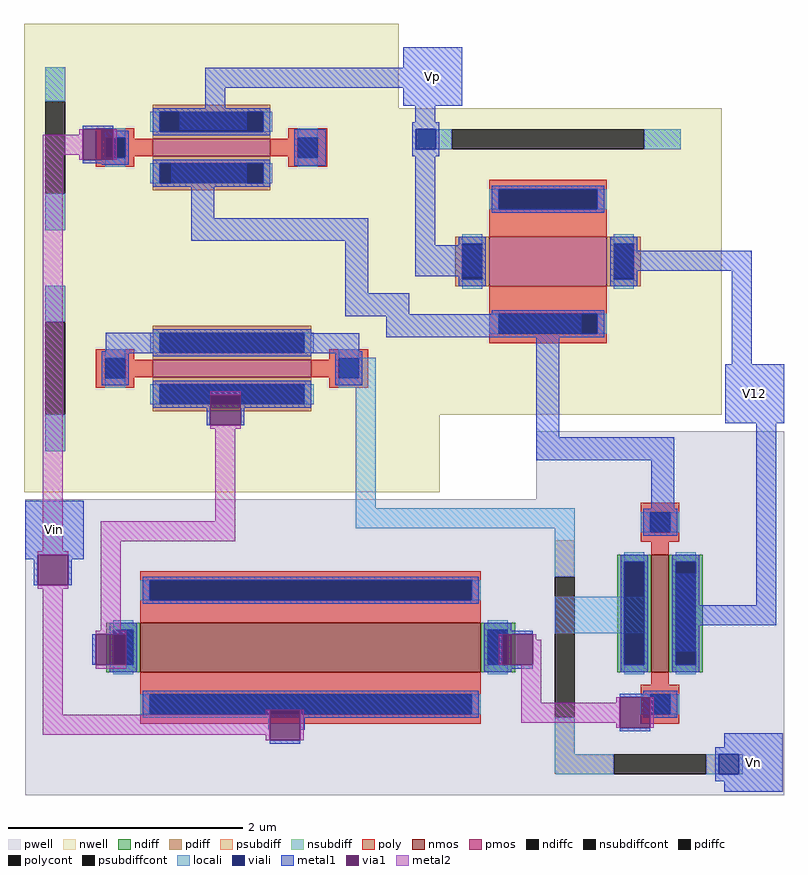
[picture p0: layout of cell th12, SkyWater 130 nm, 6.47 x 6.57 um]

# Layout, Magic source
magic
tech sky130A
magscale 1 2
<< psubdiff >>
rect 1182 -1008 1216 -946
rect 1182 -1041 1254 -1008
rect 1183 -1042 1254 -1041
<< nsubdiff >>
rect 947 22 1005 56
<< locali >>
rect 979 22 1006 56
rect 815 -367 877 -333
rect 843 -589 877 -367
rect 843 -623 1216 -589
rect 1182 -681 1216 -623
rect 1182 -802 1334 -740
rect 1182 -1008 1216 -957
rect 1182 -1039 1254 -1008
rect 1183 -1042 1254 -1039
rect 1440 -1042 1461 -1008
<< viali >>
rect 945 22 979 56
rect 1461 -1042 1495 -1008
<< metal1 >>
rect 924 161 1024 196
rect 587 127 1024 161
rect 587 89 621 127
rect 924 96 1024 127
rect 378 56 430 62
rect 543 55 657 89
rect 944 68 978 96
rect 939 56 985 68
rect 378 -2 430 4
rect 529 -42 657 -3
rect 738 -6 792 56
rect 939 22 945 56
rect 979 22 985 56
rect 939 10 985 22
rect 563 -95 602 -42
rect 563 -134 864 -95
rect 825 -223 864 -134
rect 944 -141 978 10
rect 944 -194 1057 -141
rect 1283 -151 1317 -133
rect 1283 -185 1517 -151
rect 1283 -197 1317 -185
rect 825 -259 934 -223
rect 1115 -259 1227 -257
rect 825 -262 1227 -259
rect 417 -291 716 -290
rect 417 -325 849 -291
rect 895 -296 1227 -262
rect 895 -298 1189 -296
rect 417 -369 451 -325
rect 815 -371 849 -325
rect 509 -396 755 -378
rect 509 -412 595 -396
rect 589 -448 595 -412
rect 647 -412 755 -396
rect 647 -448 653 -412
rect 1150 -468 1189 -298
rect 1483 -344 1517 -185
rect 1472 -444 1572 -344
rect 1150 -507 1385 -468
rect 280 -668 380 -576
rect 1346 -633 1385 -507
rect 280 -676 301 -668
rect 295 -720 301 -676
rect 353 -676 380 -668
rect 353 -720 359 -676
rect 1387 -754 1421 -701
rect 1525 -754 1559 -444
rect 1387 -788 1559 -754
rect 430 -804 464 -796
rect 394 -856 400 -804
rect 452 -856 464 -804
rect 1068 -798 1102 -796
rect 1068 -804 1144 -798
rect 1068 -856 1092 -804
rect 1387 -833 1421 -788
rect 1092 -862 1144 -856
rect 1292 -906 1344 -905
rect 492 -932 1040 -906
rect 492 -940 696 -932
rect 694 -966 696 -940
rect 748 -940 1040 -932
rect 1292 -911 1378 -906
rect 748 -966 756 -940
rect 1344 -940 1378 -911
rect 1292 -969 1344 -963
rect 696 -990 748 -984
rect 1470 -996 1570 -972
rect 1455 -1008 1570 -996
rect 1455 -1042 1461 -1008
rect 1495 -1042 1570 -1008
rect 1455 -1054 1570 -1042
rect 1470 -1072 1570 -1054
<< via1 >>
rect 378 4 430 56
rect 595 -448 647 -396
rect 301 -720 353 -668
rect 400 -856 452 -804
rect 1092 -856 1144 -804
rect 696 -984 748 -932
rect 1292 -963 1344 -911
<< metal2 >>
rect 372 47 378 56
rect 310 13 378 47
rect 310 -662 344 13
rect 372 4 378 13
rect 430 4 436 56
rect 595 -396 647 -390
rect 595 -454 647 -448
rect 604 -611 638 -454
rect 409 -645 638 -611
rect 301 -668 353 -662
rect 301 -726 353 -720
rect 310 -941 344 -726
rect 409 -798 443 -645
rect 400 -804 452 -798
rect 1086 -856 1092 -804
rect 1144 -813 1150 -804
rect 1144 -856 1159 -813
rect 400 -862 452 -856
rect 1125 -920 1159 -856
rect 1286 -920 1292 -911
rect 690 -941 696 -932
rect 310 -975 696 -941
rect 690 -984 696 -975
rect 748 -984 754 -932
rect 1125 -954 1292 -920
rect 1286 -963 1292 -954
rect 1344 -963 1350 -911
use sky130_fd_pr__pfet_01v8_P28Q2U  XM0
transform 0 -1 632 1 0 -351
box -211 -354 211 354
use sky130_fd_pr__nfet_01v8_ZMY3VB  XM1
transform -1 0 766 0 1 -826
box -486 -252 486 252
use sky130_fd_pr__pfet_01v8_XGS3BL  XM2
transform 0 -1 597 1 0 25
box -211 -319 211 319
use sky130_fd_pr__pfet_01v8_WV9GCW  XM3
transform 1 0 1170 0 1 -169
box -296 -261 296 261
use sky130_fd_pr__nfet_01v8_648S5X  XM4
transform -1 0 1361 0 -1 -768
box -211 -310 211 310
<< labels >>
flabel metal1 1472 -444 1572 -344 0 FreeSans 256 0 0 0 V12
port 1 nsew
flabel metal1 280 -676 380 -576 0 FreeSans 256 0 0 0 Vin
port 2 nsew
flabel metal1 924 96 1024 196 0 FreeSans 256 0 0 0 Vp
port 0 nsew
flabel metal1 1470 -1072 1570 -972 0 FreeSans 256 0 0 0 Vn
port 3 nsew
<< end >>

# cell sky130_fd_pr__pfet_01v8_P28Q2U: kit device sky130_fd_pr__pfet_01v8, w 1.349 l 0.151 m 1 nf 1 diffcov 100 polycov 100 guard 1 glc 1 grc 1 gtc 1 gbc 1 tbcov 100 rlcov 100 topc 1 botc 1 poverlap 0 doverlap 1 lmin 0.15 wmin 0.42 compatible {sky130_fd_pr__pfet_01v8 sky130_fd_pr__pfet_01v8_lvt sky130_fd_pr__pfet_01v8_hvt sky130_fd_pr__pfet_g5v0d10v5} full_metal 1 viasrc 100 viadrn 100 viagate 100 viagb 0 viagr 0 viagl 0 viagt 0

# cell sky130_fd_pr__nfet_01v8_ZMY3VB: kit device sky130_fd_pr__nfet_01v8, w 0.42 l 2.9 m 1 nf 1 diffcov 100 polycov 100 guard 1 glc 1 grc 1 gtc 1 gbc 1 tbcov 100 rlcov 100 topc 1 botc 1 poverlap 0 doverlap 1 lmin 0.15 wmin 0.42 compatible {sky130_fd_pr__nfet_01v8 sky130_fd_pr__nfet_01v8_lvt sky130_fd_bs_flash__special_sonosfet_star sky130_fd_pr__nfet_g5v0d10v5 sky130_fd_pr__nfet_05v0_nvt sky130_fd_pr__nfet_03v3_nvt} full_metal 1 viasrc 100 viadrn 100 viagate 100 viagb 0 viagr 0 viagl 0 viagt 0

# cell sky130_fd_pr__pfet_01v8_XGS3BL: kit device sky130_fd_pr__pfet_01v8, w 1.0 l 0.15 m 1 nf 1 diffcov 100 polycov 100 guard 1 glc 1 grc 1 gtc 1 gbc 1 tbcov 100 rlcov 100 topc 1 botc 1 poverlap 0 doverlap 1 lmin 0.15 wmin 0.42 compatible {sky130_fd_pr__pfet_01v8 sky130_fd_pr__pfet_01v8_lvt sky130_fd_pr__pfet_01v8_hvt sky130_fd_pr__pfet_g5v0d10v5} full_metal 1 viasrc 100 viadrn 100 viagate 100 viagb 0 viagr 0 viagl 0 viagt 0

# cell sky130_fd_pr__pfet_01v8_WV9GCW: kit device sky130_fd_pr__pfet_01v8, w 0.42 l 1.0 m 1 nf 1 diffcov 100 polycov 100 guard 1 glc 1 grc 1 gtc 1 gbc 1 tbcov 100 rlcov 100 topc 1 botc 1 poverlap 0 doverlap 1 lmin 0.15 wmin 0.42 compatible {sky130_fd_pr__pfet_01v8 sky130_fd_pr__pfet_01v8_lvt sky130_fd_pr__pfet_01v8_hvt sky130_fd_pr__pfet_g5v0d10v5} full_metal 1 viasrc 100 viadrn 100 viagate 100 viagb 0 viagr 0 viagl 0 viagt 0

# cell sky130_fd_pr__nfet_01v8_648S5X: kit device sky130_fd_pr__nfet_01v8, w 1.0 l 0.15 m 1 nf 1 diffcov 100 polycov 100 guard 1 glc 1 grc 1 gtc 1 gbc 1 tbcov 100 rlcov 100 topc 1 botc 1 poverlap 0 doverlap 1 lmin 0.15 wmin 0.42 compatible {sky130_fd_pr__nfet_01v8 sky130_fd_pr__nfet_01v8_lvt sky130_fd_bs_flash__special_sonosfet_star sky130_fd_pr__nfet_g5v0d10v5 sky130_fd_pr__nfet_05v0_nvt sky130_fd_pr__nfet_03v3_nvt} full_metal 1 viasrc 100 viadrn 100 viagate 100 viagb 0 viagr 0 viagl 0 viagt 0
